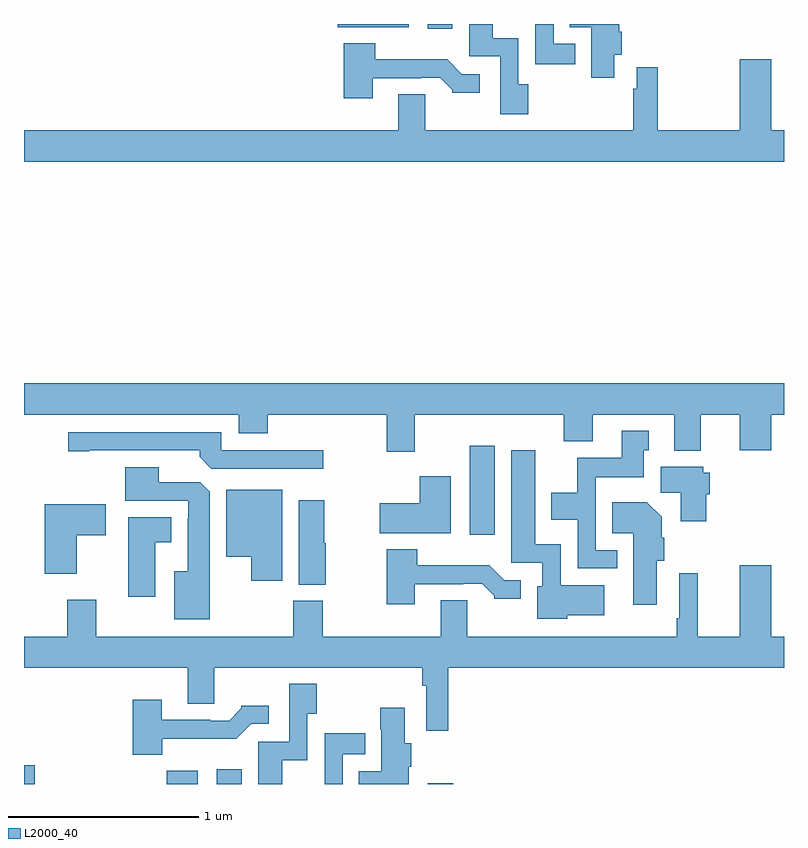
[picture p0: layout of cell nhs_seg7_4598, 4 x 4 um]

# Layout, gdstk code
import gdstk
lib = gdstk.Library(unit=1e-6, precision=1e-09)
def R(c, l, rs):  # rectangles x0, y0, x1, y1
    for r in rs: c.add(gdstk.rectangle(r[:2], r[2:], *l))
def P(c, l, *ps):  # polygons
    for p in ps: c.add(gdstk.Polygon(p, *l))
L2000_40 = (2000, 40)

nhs_seg7_4598 = lib.new_cell('nhs_seg7_4598')
R(nhs_seg7_4598, L2000_40, [(401,1004,401.057,1004.098), (401.752,1004,401.914,1004.071), (402.014,1004,402.145,1004.077), (403.124,1004,403.259,1004.005), (403.346,1005.312,403.477,1005.781), (403.124,1007.976,403.255,1008), (402.651,1007.984,403.024,1008)])
P(nhs_seg7_4598, L2000_40, [(403.9,1007.895),(403.788,1007.895),(403.788,1008),(403.692,1008),(403.692,1007.787),(403.9,1007.787)],
  [(404.107,1007.838),(404.147,1007.838),(404.147,1007.96),(404.134,1007.96),(404.134,1008),(403.873,1008),(403.873,1007.984),(403.985,1007.984),(403.985,1007.718),(404.107,1007.718)],
  [(403.655,1007.682),(403.602,1007.682),(403.602,1007.926),(403.468,1007.926),(403.468,1008),(403.343,1008),(403.343,1007.829),(403.506,1007.829),(403.506,1007.526),(403.655,1007.526)],
  [(402.835,1007.715),(403.091,1007.715),(403.091,1007.718),(403.19,1007.718),(403.254,1007.654),(403.254,1007.639),(403.399,1007.639),(403.399,1007.736),(403.305,1007.736),(403.227,1007.815),(402.848,1007.815),(402.848,1007.899),(402.683,1007.899),(402.683,1007.61),(402.835,1007.61)],
  [(405,1007.44),(404.932,1007.44),(404.932,1007.815),(404.768,1007.815),(404.768,1007.44),(404.335,1007.44),(404.335,1007.773),(404.226,1007.773),(404.226,1007.66),(404.206,1007.66),(404.206,1007.44),(403.111,1007.44),(403.111,1007.63),(402.971,1007.63),(402.971,1007.44),(401,1007.44),(401,1007.276),(405,1007.276)],
  [(403.057,1005.944),(403.841,1005.944),(403.841,1005.803),(403.993,1005.803),(403.993,1005.944),(404.423,1005.944),(404.423,1005.755),(404.563,1005.755),(404.563,1005.944),(404.768,1005.944),(404.768,1005.756),(404.932,1005.756),(404.932,1005.944),(405,1005.944),(405,1006.108),(401,1006.108),(401,1005.944),(402.131,1005.944),(402.131,1005.845),(402.284,1005.845),(402.284,1005.944),(402.91,1005.944),(402.91,1005.75),(403.057,1005.75)],
  [(404.122,1005.231),(404.01,1005.231),(404.01,1005.614),(404.263,1005.614),(404.263,1005.756),(404.287,1005.756),(404.287,1005.859),(404.147,1005.859),(404.147,1005.718),(403.912,1005.718),(403.912,1005.532),(403.775,1005.532),(403.775,1005.392),(403.914,1005.392),(403.914,1005.135),(404.122,1005.135)],
  [(402.574,1005.756),(402.039,1005.756),(402.039,1005.852),(401.232,1005.852),(401.232,1005.751),(401.344,1005.751),(401.344,1005.756),(401.924,1005.756),(401.924,1005.722),(401.985,1005.66),(402.574,1005.66)],
  [(403.86,1004.888),(404.053,1004.888),(404.053,1005.046),(403.824,1005.046),(403.824,1005.262),(403.69,1005.262),(403.69,1005.757),(403.565,1005.757),(403.565,1005.165),(403.728,1005.165),(403.728,1005.042),(403.7,1005.042),(403.7,1004.87),(403.86,1004.87)],
  [(404.591,1005.525),(404.609,1005.525),(404.609,1005.639),(404.574,1005.639),(404.574,1005.67),(404.351,1005.67),(404.351,1005.532),(404.456,1005.532),(404.456,1005.384),(404.591,1005.384)],
  [(401.977,1005.539),(401.928,1005.588),(401.71,1005.588),(401.71,1005.667),(401.534,1005.667),(401.534,1005.492),(401.865,1005.492),(401.865,1005.395),(401.861,1005.395),(401.861,1005.121),(401.792,1005.121),(401.792,1004.867),(401.977,1004.867)],
  [(403.246,1005.619),(403.082,1005.619),(403.082,1005.478),(402.873,1005.478),(402.873,1005.32),(403.246,1005.32)],
  [(402.358,1005.55),(402.065,1005.55),(402.065,1005.197),(402.197,1005.197),(402.197,1005.069),(402.358,1005.069)],
  [(402.588,1005.267),(402.58,1005.267),(402.58,1005.493),(402.446,1005.493),(402.446,1005.049),(402.588,1005.049)],
  [(404.329,1005.174),(404.369,1005.174),(404.369,1005.296),(404.356,1005.296),(404.356,1005.406),(404.278,1005.484),(404.095,1005.484),(404.095,1005.32),(404.207,1005.32),(404.207,1004.943),(404.329,1004.943)],
  [(401.278,1005.31),(401.431,1005.31),(401.431,1005.472),(401.108,1005.472),(401.108,1005.107),(401.278,1005.107)],
  [(401.692,1005.272),(401.776,1005.272),(401.776,1005.403),(401.549,1005.403),(401.549,1004.985),(401.692,1004.985)],
  [(403.057,1005.051),(403.313,1005.051),(403.313,1005.054),(403.412,1005.054),(403.476,1004.99),(403.476,1004.975),(403.615,1004.975),(403.615,1005.072),(403.527,1005.072),(403.449,1005.151),(403.07,1005.151),(403.07,1005.235),(402.91,1005.235),(402.91,1004.946),(403.057,1004.946)],
  [(403.232,1004.612),(405,1004.612),(405,1004.776),(404.932,1004.776),(404.932,1005.151),(404.768,1005.151),(404.768,1004.776),(404.547,1004.776),(404.547,1005.109),(404.448,1005.109),(404.448,1004.872),(404.436,1004.872),(404.436,1004.776),(403.333,1004.776),(403.333,1004.966),(403.193,1004.966),(403.193,1004.776),(402.573,1004.776),(402.573,1004.964),(402.418,1004.964),(402.418,1004.776),(401.38,1004.776),(401.38,1004.971),(401.228,1004.971),(401.228,1004.776),(401,1004.776),(401,1004.612),(401.861,1004.612),(401.861,1004.422),(402.001,1004.422),(402.001,1004.612),(403.096,1004.612),(403.096,1004.516),(403.116,1004.516),(403.116,1004.28),(403.232,1004.28)],
  [(402.358,1004.126),(402.492,1004.126),(402.492,1004.371),(402.54,1004.371),(402.54,1004.527),(402.396,1004.527),(402.396,1004.223),(402.233,1004.223),(402.233,1004),(402.358,1004)],
  [(401.728,1004.238),(402.117,1004.238),(402.195,1004.316),(402.289,1004.316),(402.289,1004.413),(402.144,1004.413),(402.144,1004.398),(402.08,1004.334),(401.981,1004.334),(401.981,1004.337),(401.725,1004.337),(401.725,1004.443),(401.573,1004.443),(401.573,1004.153),(401.728,1004.153)],
  [(403.024,1004.092),(403.037,1004.092),(403.037,1004.214),(403.003,1004.214),(403.003,1004.401),(402.874,1004.401),(402.874,1004.288),(402.881,1004.288),(402.881,1004.068),(402.763,1004.068),(402.763,1004),(403.024,1004)],
  [(402.678,1004.157),(402.796,1004.157),(402.796,1004.266),(402.582,1004.266),(402.582,1004),(402.678,1004)])

lib.write_gds('nhs_seg7_4598.gds')
